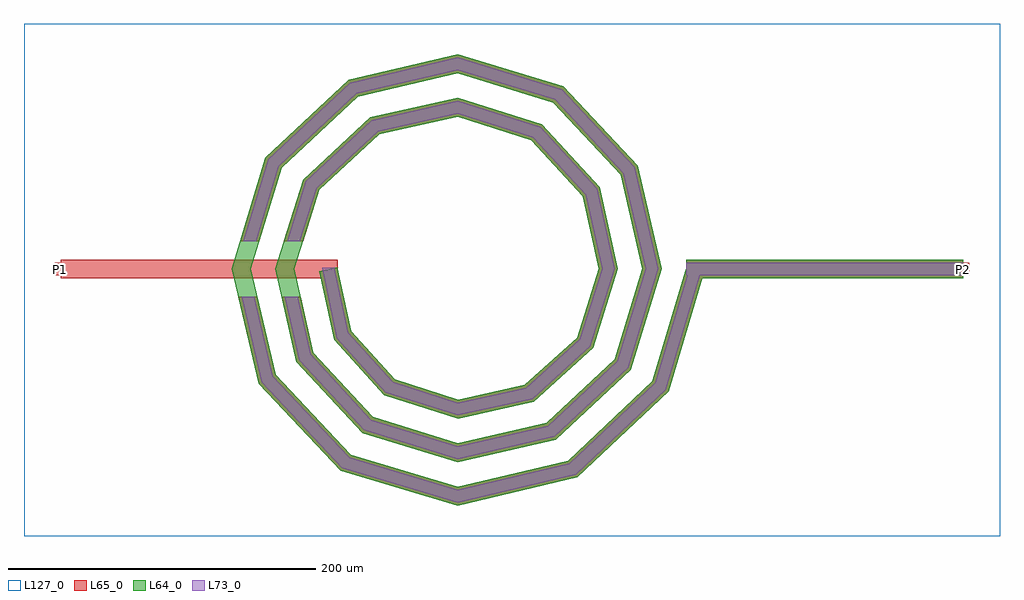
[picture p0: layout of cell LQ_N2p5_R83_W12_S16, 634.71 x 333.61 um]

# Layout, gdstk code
import gdstk
lib = gdstk.Library(unit=1e-6, precision=1e-09)
def R(c, l, rs):  # rectangles x0, y0, x1, y1
    for r in rs: c.add(gdstk.rectangle(r[:2], r[2:], *l))
def P(c, l, *ps):  # polygons
    for p in ps: c.add(gdstk.Polygon(p, *l))
L64_0 = (64, 0)
L65_0 = (65, 0)
L73_0 = (73, 0)
L127_0 = (127, 0)

lq_n2p5_r83_w12_s16 = lib.new_cell('LQ_N2p5_R83_W12_S16')
R(lq_n2p5_r83_w12_s16, L64_0, [(148.757,-6,328.757,6)])
P(lq_n2p5_r83_w12_s16, L64_0, [(-69.218,-40.328),(-40.967,-71.574),(0.3,-84.828),(43.847,-75.361),(77.693,-44.527),(91.908,0.279),(81.502,47.369),(48.083,83.815),(0.26,98.987),(-50.894,87.642),(-89.937,51.638),(-106.067,0.244),(-93.781,-54.42),(-55.191,-96.061),(0.229,-113.147),(57.948,-99.92),(102.186,-58.743),(120.227,0.216),(106.057,61.477),(62.293,108.311),(0.205,127.307),(-65.008,112.194),(-114.438,65.842),(-134.387,0.195),(-118.331,-68.539),(-69.391,-120.564),(0.185,-141.467),(72.071,-124.467),(126.692,-72.938),(149.008,1.718),(160.506,-1.718),(137.267,-79.459),(77.965,-135.404),(0.185,-153.886),(-75.926,-131.131),(-129.277,-74.417),(-146.805,0.195),(-124.994,72.394),(-70.868,123.15),(0.205,139.725),(68.863,118.857),(117.023,67.318),(132.644,0.216),(112.719,-65.333),(63.767,-110.897),(0.229,-125.563),(-61.804,-106.58),(-104.772,-60.215),(-118.482,0.244),(-100.44,58.276),(-56.661,98.647),(0.26,111.401),(54.751,94.299),(92.524,53.105),(104.32,0.279),(88.157,-51.227),(49.546,-86.402),(0.3,-97.239),(-47.706,-82.013),(-80.281,-45.985),(-89.821,-1.251),(-78.085,1.251)])
R(lq_n2p5_r83_w12_s16, L65_0, [(-257.953,-6,-77.953,6), (148.757,-6,328.757,6), (-261.953,-4,-253.953,4), (324.757,-4,332.757,4)])
P(lq_n2p5_r83_w12_s16, L65_0, [(-118.331,-68.539),(-69.391,-120.565),(0.185,-141.467),(72.072,-124.467),(126.692,-72.938),(149.008,1.718),(160.506,-1.718),(137.267,-79.459),(77.965,-135.404),(0.185,-153.886),(-75.926,-131.131),(-129.277,-74.417),(-142.531,-18),(-130.204,-18)],
  [(-93.781,-54.42),(-55.191,-96.061),(0.229,-113.147),(57.948,-99.92),(102.186,-58.743),(120.227,0.216),(106.057,61.477),(62.293,108.312),(0.205,127.307),(-65.008,112.194),(-114.438,65.842),(-128.891,18),(-141.426,18),(-124.994,72.394),(-70.868,123.15),(0.205,139.725),(68.863,118.857),(117.023,67.318),(132.644,0.216),(112.719,-65.333),(63.767,-110.897),(0.229,-125.563),(-61.804,-106.58),(-104.772,-60.215),(-114.345,-18),(-102.04,-18)],
  [(-40.967,-71.574),(0.3,-84.828),(43.847,-75.361),(77.693,-44.527),(91.908,0.279),(81.502,47.369),(48.083,83.815),(0.26,98.987),(-50.894,87.642),(-89.937,51.638),(-100.395,18),(-112.962,18),(-100.44,58.276),(-56.661,98.648),(0.26,111.401),(54.751,94.299),(92.524,53.105),(104.32,0.279),(88.157,-51.227),(49.546,-86.402),(0.3,-97.239),(-47.706,-82.013),(-80.281,-45.985),(-89.821,-1.251),(-78.085,1.251),(-69.218,-40.329)])
R(lq_n2p5_r83_w12_s16, L73_0, [(148.757,-4,328.757,4)])
P(lq_n2p5_r83_w12_s16, L73_0, [(-120.155,-69.519),(-70.48,-122.326),(0.124,-143.537),(73.054,-126.29),(128.454,-74.025),(150.925,1.146),(158.589,-1.146),(135.505,-78.372),(76.983,-133.581),(0.124,-151.816),(-74.837,-129.37),(-127.452,-73.437),(-140.476,-18),(-132.259,-18)],
  [(-95.613,-55.386),(-56.293,-97.814),(0.153,-115.216),(58.918,-101.749),(103.941,-59.841),(122.297,0.144),(107.885,62.451),(63.388,110.069),(0.137,129.377),(-65.985,114.02),(-116.197,66.934),(-130.98,18),(-139.337,18),(-123.235,71.302),(-69.891,121.324),(0.137,137.655),(67.768,117.099),(115.196,66.345),(130.574,0.144),(110.963,-64.234),(62.797,-109.068),(0.153,-123.494),(-60.702,-104.827),(-102.94,-59.249),(-112.294,-18),(-104.091,-18)],
  [(-42.09,-73.314),(0.2,-86.897),(44.797,-77.201),(79.437,-45.643),(93.976,0.186),(83.339,48.325),(49.195,85.562),(0.173,101.056),(-51.855,89.476),(-91.688,52.745),(-102.49,18),(-110.867,18),(-98.69,57.17),(-55.7,96.813),(0.173,109.332),(53.64,92.552),(90.687,52.149),(102.251,0.186),(86.413,-50.11),(48.596,-84.562),(0.2,-95.171),(-46.583,-80.273),(-78.437,-45.042),(-87.865,0.834),(-80.041,0.834),(-71.062,-41.271)])
R(lq_n2p5_r83_w12_s16, L127_0, [(-281.953,-173.886,352.757,159.725)])
lq_n2p5_r83_w12_s16.add(gdstk.Label('P2', (328.757,0), layer=65, texttype=0))
lq_n2p5_r83_w12_s16.add(gdstk.Label('P1', (-257.953,0), layer=65, texttype=0))
lq_n2p5_r83_w12_s16.add(gdstk.Label('P2', (332.757,0), layer=145, texttype=0))
lq_n2p5_r83_w12_s16.add(gdstk.Label('P1', (-261.953,0), layer=145, texttype=0))

lib.write_gds('LQ_N2p5_R83_W12_S16.gds')
